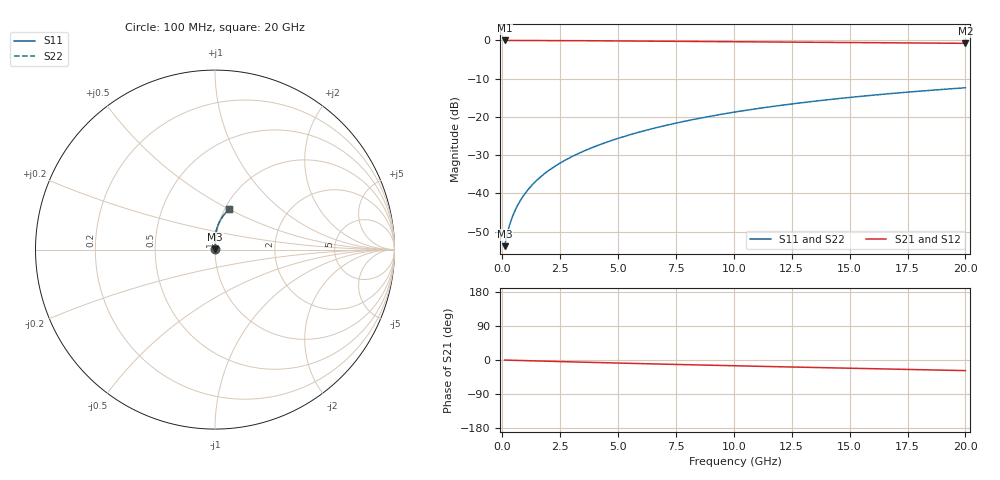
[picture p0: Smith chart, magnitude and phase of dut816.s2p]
! Touchstone file exported from HFSS 2024.1.0
!  File:  C:/UserFiles/LocalFiles/RDL_TSV_Batchsim/temp_RDL_top_816_1779854344.aedt
!  Generated:  12:01:37 PM May 27, 2026
!  Design:  RDL_top
!  Project:  temp_RDL_top_816_1779854344
!  Setup:  Setup1
!  Solution:  Sweep
! Variables:
!  dtsv = 10.80580581um
!  hbump = 3um
!  htsv = 71.27um
!  ldown = 100um
!  lrdl = 413.82um
!  p = 40
!  p1 = 45.75um
!  rhole = 1um
!  t = 450um
!  tdown = 3.915915916um
!  trdl = 4.02um
!  wdown = 15.38538539um
!  wrdl = 24.71um
# GHz S MA R 50.000000
! Terminal data exported
! Port[1] = Box2_T1
! Port[2] = Box2_T2
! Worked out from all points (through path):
!   200 points, 100 MHz to 20 GHz, reference 50 ohm
!   highest |S21| = -0.01 dB at 100 MHz (marker M1); lowest = -0.8 dB at 20 GHz (marker M2)
!   group delay of S21, straight-line fit = 3.84 ps
!   lowest |S11| = -53.8 dB at 100 MHz (marker M3), VSWR 1.00, Z = 50.2 + j0.114 ohm
!   |S11| at or under -10 dB: start of sweep to end of sweep
!   |S22| runs from -53.8 to -12.4 dB; largest |S21 - S12| = 2.2e-15
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0.1  0.002036 34.0  0.9983 -0.2  0.9983 -0.2  0.002036 34.0
! Gamma 0 0 0 0
! Port Impedance 50 0 50 0
0.2  0.002845 50.8  0.9982 -0.4  0.9982 -0.4  0.002845 50.8
0.3  0.003724 59.3  0.998 -0.5  0.998 -0.5  0.003724 59.3
0.4  0.004608 64.6  0.9979 -0.7  0.9979 -0.7  0.004608 64.6
0.5  0.005499 68.4  0.9978 -0.9  0.9978 -0.9  0.005499 68.4
0.6  0.006399 71.4  0.9977 -1.0  0.9977 -1.0  0.006399 71.4
0.8  0.008231 75.5  0.9974 -1.4  0.9974 -1.4  0.008231 75.5
1.1  0.01105 79.5  0.997 -1.9  0.997 -1.9  0.01105 79.5
1.3  0.01296 81.3  0.9967 -2.2  0.9967 -2.2  0.01296 81.3
1.6  0.01588 83.3  0.9962 -2.7  0.9962 -2.7  0.01588 83.3
2.1  0.02084 85.4  0.995 -3.5  0.995 -3.5  0.02084 85.4
2.7  0.02697 87.1  0.9934 -4.5  0.9934 -4.5  0.02697 87.1
3.5  0.03546 88.3  0.9906 -5.8  0.9906 -5.8  0.03546 88.3
4.2  0.04318 88.9  0.9879 -6.9  0.9879 -6.9  0.04318 88.9
5  0.05233 89.2  0.9845 -8.1  0.9845 -8.1  0.05233 89.1
6.8  0.07404 88.5  0.9761 -10.7  0.9761 -10.7  0.07404 88.5
8.4  0.09428 87.1  0.9684 -13.0  0.9684 -13.0  0.09429 87.1
10.1  0.1163 85.1  0.9603 -15.3  0.9603 -15.3  0.1163 85.1
11.7  0.1371 82.9  0.9529 -17.5  0.9529 -17.5  0.1371 82.9
13.4  0.1591 80.5  0.9451 -19.7  0.9451 -19.7  0.1592 80.5
16.7  0.2007 75.6  0.9303 -23.9  0.9303 -23.9  0.2007 75.6
20  0.2402 70.8  0.9157 -28.0  0.9157 -28.0  0.2402 70.8
